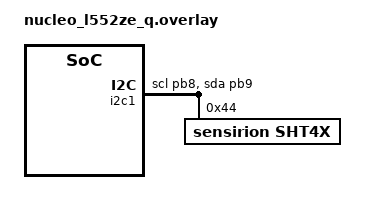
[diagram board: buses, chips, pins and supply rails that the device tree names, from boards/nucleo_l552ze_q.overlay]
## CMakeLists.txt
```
cmake_minimum_required(VERSION 3.20.0)

find_package(Zephyr REQUIRED HINTS $ENV{ZEPHYR_BASE})
project(sht40)
target_sources(app PRIVATE src/main.c)
```

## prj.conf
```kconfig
# SHT40 on I2C, wiring in boards/<board>.overlay.
CONFIG_I2C=y
CONFIG_SENSOR=y
CONFIG_SHT4X=y
```

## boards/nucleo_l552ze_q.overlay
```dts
/*
 * NUCLEO-L552ZE-Q: SHT40 on I2C1, Arduino-style pins on the Zio header:
 * D14 = PB9 = SDA, D15 = PB8 = SCL, plus 3V3 (CN8 pin 7) and GND.
 *
 * The board definition doesn't enable any I2C bus, so this does. The
 * pinctrl nodes from the HAL already set open-drain and the internal
 * pull-ups (weak, ~40 kOhm); the SHT40 breakout's own pull-ups do the real
 * work. No "timings" property needed: without a preset matching the bus
 * clock, the driver computes the timing register itself (standard and
 * fast mode only).
 */
&i2c1 {
	pinctrl-0 = <&i2c1_scl_pb8 &i2c1_sda_pb9>;
	pinctrl-names = "default";
	status = "okay";

	sht4x: sht4x@44 {
		compatible = "sensirion,sht4x";
		reg = <0x44>;
		repeatability = <2>;
	};
};
```

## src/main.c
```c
/*
 * SHT40 temperature and humidity, read every 2 s and printed to the
 * console. The sensor node (label sht4x) comes from boards/<board>.overlay.
 */
#include <stdlib.h>

#include <zephyr/kernel.h>
#include <zephyr/device.h>
#include <zephyr/drivers/sensor.h>

static const struct device *const sht4x = DEVICE_DT_GET(DT_NODELABEL(sht4x));

/* sensor_value as hundredths, without float printf support */
static void print_centi(const char *name, const struct sensor_value *v, const char *unit)
{
	int32_t c = (int32_t)(sensor_value_to_milli(v) / 10);

	printk("%s %s%d.%02d %s", name, c < 0 ? "-" : "", abs(c) / 100, abs(c) % 100, unit);
}

int main(void)
{
	if (!device_is_ready(sht4x)) {
		printk("SHT40 not ready - check wiring (D14 SDA, D15 SCL, 3V3, GND)\n");
		return 0;
	}

	while (1) {
		struct sensor_value t, rh;
		int err = sensor_sample_fetch(sht4x);

		if (err == 0) {
			sensor_channel_get(sht4x, SENSOR_CHAN_AMBIENT_TEMP, &t);
			sensor_channel_get(sht4x, SENSOR_CHAN_HUMIDITY, &rh);
			printk("[%u s] ", k_uptime_get_32() / 1000);
			print_centi("T", &t, "C, ");
			print_centi("RH", &rh, "%\n");
		} else {
			printk("[%u s] SHT40 error %d\n", k_uptime_get_32() / 1000, err);
		}
		k_msleep(2000);
	}

	return 0;
}
```
